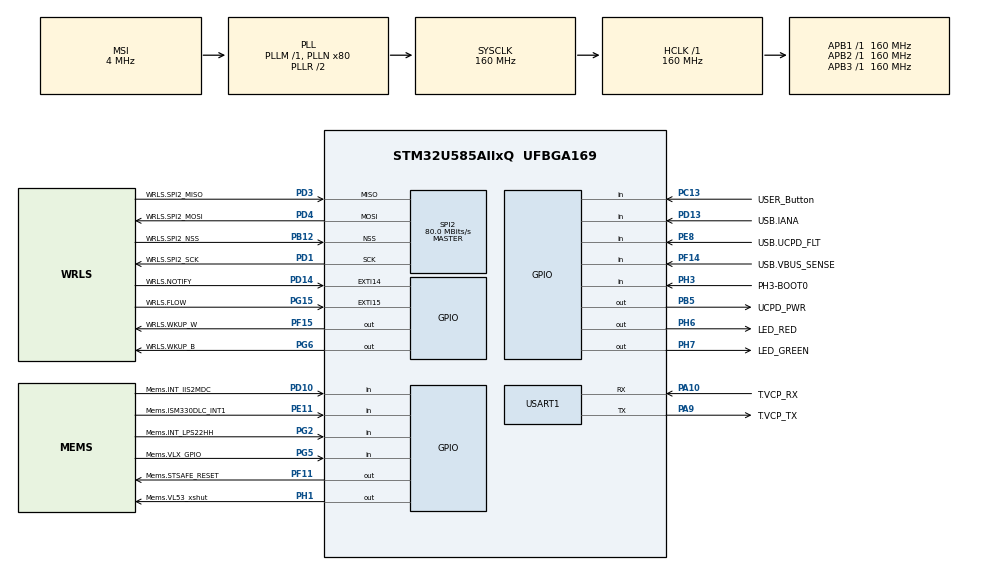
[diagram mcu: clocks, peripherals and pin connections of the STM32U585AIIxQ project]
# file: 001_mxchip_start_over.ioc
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CORTEX_M33_NS.userName=CORTEX_M33
Mcu.Family=STM32U5
Mcu.Name=STM32U585AIIxQ
Mcu.Package=UFBGA169
NVIC.PriorityGroup=NVIC_PRIORITYGROUP_4
NVIC.SPI2_IRQn=true\:0\:0\:false\:false\:true\:true\:true\:true
NVIC.USART1_IRQn=true\:0\:0\:false\:false\:true\:true\:true\:true
PA10.GPIO_Label=T.VCP_RX
PA10.Mode=Asynchronous
PA10.Signal=USART1_RX
PA11.GPIO_Label=USB.C_P
PA11.Signal=USB_OTG_FS_DM
PA12.GPIO_Label=USB.C_P
PA12.Signal=USB_OTG_FS_DP
PA13\ (JTMS/SWDIO).GPIO_Label=T.SWDIO
PA13\ (JTMS/SWDIO).Signal=DEBUG_JTMS-SWDIO
PA14\ (JTCK/SWCLK).GPIO_Label=T.SWCLK
PA14\ (JTCK/SWCLK).Signal=DEBUG_JTCK-SWCLK
PA15\ (JTDI).GPIO_Label=USB.UCPD_CC1
PA15\ (JTDI).Signal=UCPD1_CC1
PA9.GPIO_Label=T.VCP_TX
PA9.Mode=Asynchronous
PA9.Signal=USART1_TX
PB1.GPIO_Label=MIC.SDIN0
PB1.Signal=MDF1_SDI0
PB10.GPIO_Label=OCTOSPI.R_CLK_P
PB10.Signal=OCTOSPIM_P1_CLK
PB11.GPIO_Label=OCTOSPI.R_NCS
PB11.Signal=OCTOSPIM_P1_NCS
PB12.GPIO_Label=WRLS.SPI2_NSS
PB12.Mode=NSS_Signal_Hard_Input
PB12.Signal=SPI2_NSS
PB15.GPIO_Label=USB.UCPD_CC2
PB15.Signal=UCPD1_CC2
PB3\ (JTDO/TRACESWO).GPIO_Label=T.SWO
PB3\ (JTDO/TRACESWO).Signal=DEBUG_JTDO-SWO
PB5.GPIO_Label=UCPD_PWR
PB5.Signal=GPIO_Output
PB8.Signal=I2C1_SCL
PB9.Signal=I2C1_SDA
PC10.GPIO_Label=WRLS.UART4_TX
PC10.Signal=UART4_TX
PC11.GPIO_Label=WRLS.UART4_RX
PC11.Signal=UART4_RX
PC13.GPIO_Label=USER_Button
PC13.Signal=GPIO_Input
PC14-OSC32_IN\ (PC14).GPIO_Label=PC14-OSC32_IN
PC14-OSC32_IN\ (PC14).Signal=RCC_OSC32_IN
PC15-OSC32_OUT\ (PC15).GPIO_Label=PC15-OSC32_OUT
PC15-OSC32_OUT\ (PC15).Signal=RCC_OSC32_OUT
PC3.GPIO_Label=OCTOSPI.R_IO6
PC3.Signal=OCTOSPIM_P1_IO6
PD1.GPIO_Label=WRLS.SPI2_SCK
PD1.Mode=Full_Duplex_Master
PD1.Signal=SPI2_SCK
PD10.GPIO_Label=Mems.INT_IIS2MDC
PD10.Signal=GPIO_Input
PD13.GPIO_Label=USB.IANA
PD13.Signal=GPIO_Input
PD14.GPIO_Label=WRLS.NOTIFY
PD14.GPIO_ModeDefaultEXTI=GPIO_MODE_IT_RISING
PD14.Signal=GPXTI14
PD3.GPIO_Label=WRLS.SPI2_MISO
PD3.Mode=Full_Duplex_Master
PD3.Signal=SPI2_MISO
PD4.GPIO_Label=WRLS.SPI2_MOSI
PD4.Mode=Full_Duplex_Master
PD4.Signal=SPI2_MOSI
PD7.GPIO_Label=OCTOSPI.R_IO7
PD7.Signal=OCTOSPIM_P1_IO7
PE10.GPIO_Label=MIC.SDINx
PE10.Signal=ADF1_SDI0
PE11.GPIO_Label=Mems.ISM330DLC_INT1
PE11.Signal=GPIO_Input
PE3.GPIO_Label=OCTOSPI.R_DQS
PE3.Signal=OCTOSPIM_P1_DQS
PE8.GPIO_Label=USB.UCPD_FLT
PE8.Signal=GPIO_Input
PE9.GPIO_Label=MIC.CCK0
PE9.Signal=ADF1_CCK0
PF0.GPIO_Label=OCTOSPI.F_IO0
PF0.Signal=OCTOSPIM_P2_IO0
PF1.GPIO_Label=OCTOSPI.F_IO1
PF1.Signal=OCTOSPIM_P2_IO1
PF10.GPIO_Label=MIC.CCK1
PF10.Signal=MDF1_CCK1
PF11.GPIO_Label=Mems.STSAFE_RESET
PF11.Signal=GPIO_Output
PF12.GPIO_Label=OCTOSPI.F_DQS
PF12.Signal=OCTOSPIM_P2_DQS
PF14.GPIO_Label=USB.VBUS_SENSE
PF14.Signal=GPIO_Input
PF15.GPIO_Label=WRLS.WKUP_W
PF15.Signal=GPIO_Output
PF2.GPIO_Label=OCTOSPI.F_IO2
PF2.Signal=OCTOSPIM_P2_IO2
PF3.GPIO_Label=OCTOSPI.F_IO3
PF3.Signal=OCTOSPIM_P2_IO3
PF4.GPIO_Label=OCTOSPI.F_CLK_P
PF4.Signal=OCTOSPIM_P2_CLK
PF6.GPIO_Label=OCTOSPI.R_IO3
PF6.Signal=OCTOSPIM_P1_IO3
PF7.GPIO_Label=OCTOSPI.R_IO2
PF7.Signal=OCTOSPIM_P1_IO2
PF8.GPIO_Label=OCTOSPI.R_IO0
PF8.Signal=OCTOSPIM_P1_IO0
PF9.GPIO_Label=OCTOSPI.R_IO1
PF9.Signal=OCTOSPIM_P1_IO1
PG15.GPIO_Label=WRLS.FLOW
PG15.GPIO_ModeDefaultEXTI=GPIO_MODE_IT_RISING
PG15.Signal=GPXTI15
PG2.GPIO_Label=Mems.INT_LPS22HH
PG2.Signal=GPIO_Input
PG5.GPIO_Label=Mems.VLX_GPIO
PG5.Signal=GPIO_Input
PG6.GPIO_Label=WRLS.WKUP_B
PG6.Signal=GPIO_Output
PH1-OSC_OUT\ (PH1).GPIO_Label=Mems.VL53_xshut
PH1-OSC_OUT\ (PH1).Signal=GPIO_Output
PH10.GPIO_Label=OCTOSPI.F_IO5
PH10.Signal=OCTOSPIM_P2_IO5
PH11.GPIO_Label=OCTOSPI.F_IO6
PH11.Signal=OCTOSPIM_P2_IO6
PH12.GPIO_Label=OCTOSPI.F_IO7
PH12.Signal=OCTOSPIM_P2_IO7
PH2.GPIO_Label=OCTOSPI.R_IO4
PH2.Signal=OCTOSPIM_P1_IO4
PH3-BOOT0.GPIO_Label=PH3-BOOT0
PH3-BOOT0.Signal=GPIO_Input
PH4.Signal=I2C2_SCL
PH5.Signal=I2C2_SDA
PH6.GPIO_Label=LED_RED
PH6.Signal=GPIO_Output
PH7.GPIO_Label=LED_GREEN
PH7.Signal=GPIO_Output
PH9.GPIO_Label=OCTOSPI.F_IO4
PH9.Signal=OCTOSPIM_P2_IO4
PI0.GPIO_Label=OCTOSPI.R_IO5
PI0.Signal=OCTOSPIM_P1_IO5
PI5.GPIO_Label=OCTOSPI.F_NCS
PI5.Signal=OCTOSPIM_P2_NCS
PWR.PowerMode=PWR_SMPS_SUPPLY
ProjectManager.HeapSize=0x200
ProjectManager.StackSize=0x400
ProjectManager.TargetToolchain=STM32CubeIDE
RCC.ADCFreq_Value=16000000
RCC.AHBFreq_Value=160000000
RCC.APB1Freq_Value=160000000
RCC.APB1TimFreq_Value=160000000
RCC.APB2Freq_Value=160000000
RCC.APB2TimFreq_Value=160000000
RCC.APB3Freq_Value=160000000
RCC.CortexFreq_Value=160000000
RCC.DACCLockSelectionVirtual=RCC_DAC1CLKSOURCE_LSI
RCC.EPOD_VALUE=4000000
RCC.HCLKFreq_Value=160000000
RCC.HSE_VALUE=16000000
RCC.HSI48_VALUE=48000000
RCC.HSI_VALUE=16000000
RCC.LSE_VALUE=32768
RCC.LSIDIV_VALUE=32000
RCC.MSI_VALUE=4000000
RCC.PLLN=80
RCC.SYSCLKFreq_VALUE=160000000
RCC.SYSCLKSource=RCC_SYSCLKSOURCE_PLLCLK
RCC.USBFreq_Value=48000000
RCC.VCOOutputFreq_Value=320000000
SPI2.CalculateBaudRate=80.0 MBits/s
SPI2.DataSize=SPI_DATASIZE_8BIT
SPI2.Direction=SPI_DIRECTION_2LINES
SPI2.Mode=SPI_MODE_MASTER
SPI2.VirtualNSS=VM_NSSHARD
SPI2.VirtualType=VM_MASTER
USART1.VirtualMode-Asynchronous=VM_ASYNC
VP_GPDMA1_VS_GPDMACH12.Mode=LINKEDLIST_GPDMACH12
VP_GPDMA1_VS_GPDMACH13.Mode=LINKEDLIST_GPDMACH13
VP_ICACHE_VS_ICACHE.Mode=DirectMappedCache
VP_LPBAMQUEUE_VS_QUEUE.Mode=QUEUEMODE
VP_LPBAM_VS_SIG1.Mode=SmartRun
VP_LPBAM_VS_SIG4.Mode=LPDMA1
VP_MEMORYMAP_VS_MEMORYMAP.Mode=CurAppReg
VP_PWR_VS_LPOM.Mode=PowerOptimisation
VP_PWR_VS_SECSignals.Mode=Security/Privilege
board=B-U585I-IOT02A

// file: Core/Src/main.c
/* USER CODE BEGIN Header */
/**
  ******************************************************************************
  * @file           : main.c
  * @brief          : Main program body
  ******************************************************************************
  * @attention
  *
  * Copyright (c) 2025 STMicroelectronics.
  * All rights reserved.
  *
  * This software is licensed under terms that can be found in the LICENSE file
  * in the root directory of this software component.
  * If no LICENSE file comes with this software, it is provided AS-IS.
  *
  ******************************************************************************
  */
/* USER CODE END Header */
#include "main.h"

/* USER CODE BEGIN Includes */
#include "mxchip_stm32.h"
#include <stdio.h>
/* USER CODE END Includes */

DMA_HandleTypeDef handle_GPDMA1_Channel13;
DMA_HandleTypeDef handle_GPDMA1_Channel12;

SPI_HandleTypeDef hspi2;

UART_HandleTypeDef huart1;

/* USER CODE BEGIN PV */
/* MXCHIP WiFi object */
MX_WIFIObject_t wifi_obj;

/* USER CODE END PV */

void SystemClock_Config(void);
static void SystemPower_Config(void);
static void MX_GPIO_Init(void);
static void MX_GPDMA1_Init(void);
static void MX_ICACHE_Init(void);
static void MX_SPI2_Init(void);
static void MX_USART1_UART_Init(void);

/* USER CODE BEGIN 0 */

/**
 * @brief Redirect printf to UART1
 * @param ch: Character to send
 * @retval int: Character sent
 */
int __io_putchar(int ch)
{
  HAL_UART_Transmit(&huart1, (uint8_t *)&ch, 1, HAL_MAX_DELAY);
  return ch;
}

/* USER CODE END 0 */

int main(void)
{

  /* MCU Configuration--------------------------------------------------------*/

  /* Reset of all peripherals, Initializes the Flash interface and the Systick. */
  HAL_Init();

  /* Configure the System Power */
  SystemPower_Config();

  /* Configure the system clock */
  SystemClock_Config();

  /* Initialize all configured peripherals */
  MX_GPIO_Init();
  MX_GPDMA1_Init();
  MX_ICACHE_Init();
  MX_SPI2_Init();
  MX_USART1_UART_Init();
  /* USER CODE BEGIN 2 */

  printf("\r\n=== MXCHIP WiFi Network Scanner Demo ===\r\n");

  /* Initialize MXCHIP WiFi module */
  MX_WIFI_STATUS_T status = MXCHIP_Init(&wifi_obj);

  if (status != MX_WIFI_STATUS_OK) {
    printf("❌ Failed to initialize MXCHIP WiFi module. Halting.\r\n");
    while(1) {
      HAL_GPIO_TogglePin(LED_RED_GPIO_Port, LED_RED_Pin);
      HAL_Delay(500);
    }
  }

  /* Turn on green LED to indicate successful initialization */
  HAL_GPIO_WritePin(LED_GREEN_GPIO_Port, LED_GREEN_Pin, GPIO_PIN_SET);

  printf("🚀 Starting WiFi scanning demo...\r\n\r\n");

  /* USER CODE END 2 */

  /* Infinite loop */
  while (1)
  {

    /* USER CODE BEGIN 3 */

    MXCHIP_ScanResults_t scan_results;

    printf("🔄 === WiFi Scan Cycle ===\r\n");

    /* Perform WiFi network scan */
    status = MXCHIP_ScanNetworks(&wifi_obj, &scan_results);

    if (status == MX_WIFI_STATUS_OK) {
      /* Display scan results */
      MXCHIP_PrintScanResults(&scan_results);

      if (scan_results.count > 0) {
        /* Show strongest network */
        MXCHIP_PrintStrongestNetwork(&scan_results);

        /* Show network statistics */
        MXCHIP_PrintNetworkStatistics(&scan_results);

        /* Blink green LED to indicate successful scan */
        for (int i = 0; i < 3; i++) {
          HAL_GPIO_TogglePin(LED_GREEN_GPIO_Port, LED_GREEN_Pin);
          HAL_Delay(200);
        }
        HAL_GPIO_WritePin(LED_GREEN_GPIO_Port, LED_GREEN_Pin, GPIO_PIN_SET);
      } else {
        printf("⚠️  No networks found in this scan.\r\n");
        /* Blink red LED to indicate no networks found */
        for (int i = 0; i < 2; i++) {
          HAL_GPIO_TogglePin(LED_RED_GPIO_Port, LED_RED_Pin);
          HAL_Delay(300);
        }
        HAL_GPIO_WritePin(LED_RED_GPIO_Port, LED_RED_Pin, GPIO_PIN_RESET);
      }
    } else {
      printf("❌ WiFi scan failed with error: %d\r\n", status);
      /* Blink red LED rapidly to indicate scan error */
      for (int i = 0; i < 5; i++) {
        HAL_GPIO_TogglePin(LED_RED_GPIO_Port, LED_RED_Pin);
        HAL_Delay(100);
      }
      HAL_GPIO_WritePin(LED_RED_GPIO_Port, LED_RED_Pin, GPIO_PIN_RESET);
    }

    printf("⏰ Waiting 10 seconds before next scan...\r\n");
    printf("========================================\r\n\r\n");

    /* Wait 10 seconds before next scan */
    HAL_Delay(10000);

  }
  /* USER CODE END 3 */
}

void SystemClock_Config(void)
{
  RCC_OscInitTypeDef RCC_OscInitStruct = {0};
  RCC_ClkInitTypeDef RCC_ClkInitStruct = {0};

  /** Configure the main internal regulator output voltage
  */
  if (HAL_PWREx_ControlVoltageScaling(PWR_REGULATOR_VOLTAGE_SCALE1) != HAL_OK)
  {
    Error_Handler();
  }

  /** Initializes the CPU, AHB and APB buses clocks
  */
  RCC_OscInitStruct.OscillatorType = RCC_OSCILLATORTYPE_MSI;
  RCC_OscInitStruct.MSIState = RCC_MSI_ON;
  RCC_OscInitStruct.MSICalibrationValue = RCC_MSICALIBRATION_DEFAULT;
  RCC_OscInitStruct.MSIClockRange = RCC_MSIRANGE_4;
  RCC_OscInitStruct.PLL.PLLState = RCC_PLL_ON;
  RCC_OscInitStruct.PLL.PLLSource = RCC_PLLSOURCE_MSI;
  RCC_OscInitStruct.PLL.PLLMBOOST = RCC_PLLMBOOST_DIV1;
  RCC_OscInitStruct.PLL.PLLM = 1;
  RCC_OscInitStruct.PLL.PLLN = 80;
  RCC_OscInitStruct.PLL.PLLP = 2;
  RCC_OscInitStruct.PLL.PLLQ = 2;
  RCC_OscInitStruct.PLL.PLLR = 2;
  RCC_OscInitStruct.PLL.PLLRGE = RCC_PLLVCIRANGE_0;
  RCC_OscInitStruct.PLL.PLLFRACN = 0;
  if (HAL_RCC_OscConfig(&RCC_OscInitStruct) != HAL_OK)
  {
    Error_Handler();
  }

  /** Initializes the CPU, AHB and APB buses clocks
  */
  RCC_ClkInitStruct.ClockType = RCC_CLOCKTYPE_HCLK|RCC_CLOCKTYPE_SYSCLK
                              |RCC_CLOCKTYPE_PCLK1|RCC_CLOCKTYPE_PCLK2
                              |RCC_CLOCKTYPE_PCLK3;
  RCC_ClkInitStruct.SYSCLKSource = RCC_SYSCLKSOURCE_PLLCLK;
  RCC_ClkInitStruct.AHBCLKDivider = RCC_SYSCLK_DIV1;
  RCC_ClkInitStruct.APB1CLKDivider = RCC_HCLK_DIV1;
  RCC_ClkInitStruct.APB2CLKDivider = RCC_HCLK_DIV1;
  RCC_ClkInitStruct.APB3CLKDivider = RCC_HCLK_DIV1;

  if (HAL_RCC_ClockConfig(&RCC_ClkInitStruct, FLASH_LATENCY_4) != HAL_OK)
  {
    Error_Handler();
  }
}

/**
  * @brief Power Configuration
  * @retval None
  */
static void SystemPower_Config(void)
{
  HAL_PWREx_EnableVddIO2();

  /*
   * Switch to SMPS regulator instead of LDO
   */
  if (HAL_PWREx_ConfigSupply(PWR_SMPS_SUPPLY) != HAL_OK)
  {
    Error_Handler();
  }
}

static void MX_GPDMA1_Init(void)
{

  /* Peripheral clock enable */
  __HAL_RCC_GPDMA1_CLK_ENABLE();

  handle_GPDMA1_Channel13.Instance = GPDMA1_Channel13;
  handle_GPDMA1_Channel13.InitLinkedList.Priority = DMA_LOW_PRIORITY_LOW_WEIGHT;
  handle_GPDMA1_Channel13.InitLinkedList.LinkStepMode = DMA_LSM_FULL_EXECUTION;
  handle_GPDMA1_Channel13.InitLinkedList.LinkAllocatedPort = DMA_LINK_ALLOCATED_PORT0;
  handle_GPDMA1_Channel13.InitLinkedList.TransferEventMode = DMA_TCEM_LAST_LL_ITEM_TRANSFER;
  handle_GPDMA1_Channel13.InitLinkedList.LinkedListMode = DMA_LINKEDLIST_NORMAL;
  if (HAL_DMAEx_List_Init(&handle_GPDMA1_Channel13) != HAL_OK)
  {
    Error_Handler();
  }
  if (HAL_DMA_ConfigChannelAttributes(&handle_GPDMA1_Channel13, DMA_CHANNEL_NPRIV) != HAL_OK)
  {
    Error_Handler();
  }
  handle_GPDMA1_Channel12.Instance = GPDMA1_Channel12;
  handle_GPDMA1_Channel12.InitLinkedList.Priority = DMA_LOW_PRIORITY_LOW_WEIGHT;
  handle_GPDMA1_Channel12.InitLinkedList.LinkStepMode = DMA_LSM_FULL_EXECUTION;
  handle_GPDMA1_Channel12.InitLinkedList.LinkAllocatedPort = DMA_LINK_ALLOCATED_PORT0;
  handle_GPDMA1_Channel12.InitLinkedList.TransferEventMode = DMA_TCEM_LAST_LL_ITEM_TRANSFER;
  handle_GPDMA1_Channel12.InitLinkedList.LinkedListMode = DMA_LINKEDLIST_NORMAL;
  if (HAL_DMAEx_List_Init(&handle_GPDMA1_Channel12) != HAL_OK)
  {
    Error_Handler();
  }
  if (HAL_DMA_ConfigChannelAttributes(&handle_GPDMA1_Channel12, DMA_CHANNEL_NPRIV) != HAL_OK)
  {
    Error_Handler();
  }

}

static void MX_ICACHE_Init(void)
{

  /** Enable instruction cache in 1-way (direct mapped cache)
  */
  if (HAL_ICACHE_ConfigAssociativityMode(ICACHE_1WAY) != HAL_OK)
  {
    Error_Handler();
  }
  if (HAL_ICACHE_Enable() != HAL_OK)
  {
    Error_Handler();
  }

}

static void MX_SPI2_Init(void)
{

  SPI_AutonomousModeConfTypeDef HAL_SPI_AutonomousMode_Cfg_Struct = {0};

  /* SPI2 parameter configuration*/
  hspi2.Instance = SPI2;
  hspi2.Init.Mode = SPI_MODE_MASTER;
  hspi2.Init.Direction = SPI_DIRECTION_2LINES;
  hspi2.Init.DataSize = SPI_DATASIZE_8BIT;
  hspi2.Init.CLKPolarity = SPI_POLARITY_LOW;
  hspi2.Init.CLKPhase = SPI_PHASE_1EDGE;
  hspi2.Init.NSS = SPI_NSS_HARD_INPUT;
  hspi2.Init.BaudRatePrescaler = SPI_BAUDRATEPRESCALER_2;
  hspi2.Init.FirstBit = SPI_FIRSTBIT_MSB;
  hspi2.Init.TIMode = SPI_TIMODE_DISABLE;
  hspi2.Init.CRCCalculation = SPI_CRCCALCULATION_DISABLE;
  hspi2.Init.CRCPolynomial = 0x7;
  hspi2.Init.NSSPMode = SPI_NSS_PULSE_ENABLE;
  hspi2.Init.NSSPolarity = SPI_NSS_POLARITY_LOW;
  hspi2.Init.FifoThreshold = SPI_FIFO_THRESHOLD_01DATA;
  hspi2.Init.MasterSSIdleness = SPI_MASTER_SS_IDLENESS_00CYCLE;
  hspi2.Init.MasterInterDataIdleness = SPI_MASTER_INTERDATA_IDLENESS_00CYCLE;
  hspi2.Init.MasterReceiverAutoSusp = SPI_MASTER_RX_AUTOSUSP_DISABLE;
  hspi2.Init.MasterKeepIOState = SPI_MASTER_KEEP_IO_STATE_DISABLE;
  hspi2.Init.IOSwap = SPI_IO_SWAP_DISABLE;
  hspi2.Init.ReadyMasterManagement = SPI_RDY_MASTER_MANAGEMENT_INTERNALLY;
  hspi2.Init.ReadyPolarity = SPI_RDY_POLARITY_HIGH;
  if (HAL_SPI_Init(&hspi2) != HAL_OK)
  {
    Error_Handler();
  }
  HAL_SPI_AutonomousMode_Cfg_Struct.TriggerState = SPI_AUTO_MODE_DISABLE;
  HAL_SPI_AutonomousMode_Cfg_Struct.TriggerSelection = SPI_GRP1_GPDMA_CH0_TCF_TRG;
  HAL_SPI_AutonomousMode_Cfg_Struct.TriggerPolarity = SPI_TRIG_POLARITY_RISING;
  if (HAL_SPIEx_SetConfigAutonomousMode(&hspi2, &HAL_SPI_AutonomousMode_Cfg_Struct) != HAL_OK)
  {
    Error_Handler();
  }

}

static void MX_USART1_UART_Init(void)
{

  huart1.Instance = USART1;
  huart1.Init.BaudRate = 115200;
  huart1.Init.WordLength = UART_WORDLENGTH_8B;
  huart1.Init.StopBits = UART_STOPBITS_1;
  huart1.Init.Parity = UART_PARITY_NONE;
  huart1.Init.Mode = UART_MODE_TX_RX;
  huart1.Init.HwFlowCtl = UART_HWCONTROL_NONE;
  huart1.Init.OverSampling = UART_OVERSAMPLING_16;
  huart1.Init.OneBitSampling = UART_ONE_BIT_SAMPLE_DISABLE;
  huart1.Init.ClockPrescaler = UART_PRESCALER_DIV1;
  huart1.AdvancedInit.AdvFeatureInit = UART_ADVFEATURE_NO_INIT;
  if (HAL_UART_Init(&huart1) != HAL_OK)
  {
    Error_Handler();
  }
  if (HAL_UARTEx_SetTxFifoThreshold(&huart1, UART_TXFIFO_THRESHOLD_1_8) != HAL_OK)
  {
    Error_Handler();
  }
  if (HAL_UARTEx_SetRxFifoThreshold(&huart1, UART_RXFIFO_THRESHOLD_1_8) != HAL_OK)
  {
    Error_Handler();
  }
  if (HAL_UARTEx_DisableFifoMode(&huart1) != HAL_OK)
  {
    Error_Handler();
  }

}

static void MX_GPIO_Init(void)
{
  GPIO_InitTypeDef GPIO_InitStruct = {0};

  /* GPIO Ports Clock Enable */
  __HAL_RCC_GPIOG_CLK_ENABLE();
  __HAL_RCC_GPIOC_CLK_ENABLE();
  __HAL_RCC_GPIOA_CLK_ENABLE();
  __HAL_RCC_GPIOI_CLK_ENABLE();
  __HAL_RCC_GPIOH_CLK_ENABLE();
  __HAL_RCC_GPIOB_CLK_ENABLE();
  __HAL_RCC_GPIOD_CLK_ENABLE();
  __HAL_RCC_GPIOE_CLK_ENABLE();
  __HAL_RCC_GPIOF_CLK_ENABLE();

  /*Configure GPIO pin Output Level */
  HAL_GPIO_WritePin(UCPD_PWR_GPIO_Port, UCPD_PWR_Pin, GPIO_PIN_RESET);

  /*Configure GPIO pin Output Level */
  HAL_GPIO_WritePin(GPIOH, LED_RED_Pin|LED_GREEN_Pin|Mems_VL53_xshut_Pin, GPIO_PIN_RESET);

  /*Configure GPIO pin Output Level */
  HAL_GPIO_WritePin(WRLS_WKUP_B_GPIO_Port, WRLS_WKUP_B_Pin, GPIO_PIN_RESET);

  /*Configure GPIO pin Output Level */
  HAL_GPIO_WritePin(GPIOF, Mems_STSAFE_RESET_Pin|WRLS_WKUP_W_Pin, GPIO_PIN_RESET);

  /*Configure GPIO pin : WRLS_FLOW_Pin */
  GPIO_InitStruct.Pin = WRLS_FLOW_Pin;
  GPIO_InitStruct.Mode = GPIO_MODE_IT_RISING;
  GPIO_InitStruct.Pull = GPIO_NOPULL;
  HAL_GPIO_Init(WRLS_FLOW_GPIO_Port, &GPIO_InitStruct);

  /*Configure GPIO pins : WRLS_UART4_RX_Pin WRLS_UART4_TX_Pin */
  GPIO_InitStruct.Pin = WRLS_UART4_RX_Pin|WRLS_UART4_TX_Pin;
  GPIO_InitStruct.Mode = GPIO_MODE_AF_PP;
  GPIO_InitStruct.Pull = GPIO_NOPULL;
  GPIO_InitStruct.Speed = GPIO_SPEED_FREQ_LOW;
  GPIO_InitStruct.Alternate = GPIO_AF8_UART4;
  HAL_GPIO_Init(GPIOC, &GPIO_InitStruct);

  /*Configure GPIO pin : USB_UCPD_CC1_Pin */
  GPIO_InitStruct.Pin = USB_UCPD_CC1_Pin;
  GPIO_InitStruct.Mode = GPIO_MODE_ANALOG;
  GPIO_InitStruct.Pull = GPIO_NOPULL;
  HAL_GPIO_Init(USB_UCPD_CC1_GPIO_Port, &GPIO_InitStruct);

  /*Configure GPIO pin : OCTOSPI_F_NCS_Pin */
  GPIO_InitStruct.Pin = OCTOSPI_F_NCS_Pin;
  GPIO_InitStruct.Mode = GPIO_MODE_AF_PP;
  GPIO_InitStruct.Pull = GPIO_NOPULL;
  GPIO_InitStruct.Speed = GPIO_SPEED_FREQ_VERY_HIGH;
  GPIO_InitStruct.Alternate = GPIO_AF5_OCTOSPI2;
  HAL_GPIO_Init(OCTOSPI_F_NCS_GPIO_Port, &GPIO_InitStruct);

  /*Configure GPIO pin : OCTOSPI_R_IO5_Pin */
  GPIO_InitStruct.Pin = OCTOSPI_R_IO5_Pin;
  GPIO_InitStruct.Mode = GPIO_MODE_AF_PP;
  GPIO_InitStruct.Pull = GPIO_NOPULL;
  GPIO_InitStruct.Speed = GPIO_SPEED_FREQ_VERY_HIGH;
  GPIO_InitStruct.Alternate = GPIO_AF3_OCTOSPI1;
  HAL_GPIO_Init(OCTOSPI_R_IO5_GPIO_Port, &GPIO_InitStruct);

  /*Configure GPIO pins : OCTOSPI_F_IO7_Pin OCTOSPI_F_IO5_Pin OCTOSPI_F_IO6_Pin OCTOSPI_F_IO4_Pin */
  GPIO_InitStruct.Pin = OCTOSPI_F_IO7_Pin|OCTOSPI_F_IO5_Pin|OCTOSPI_F_IO6_Pin|OCTOSPI_F_IO4_Pin;
  GPIO_InitStruct.Mode = GPIO_MODE_AF_PP;
  GPIO_InitStruct.Pull = GPIO_NOPULL;
  GPIO_InitStruct.Speed = GPIO_SPEED_FREQ_VERY_HIGH;
  GPIO_InitStruct.Alternate = GPIO_AF5_OCTOSPI2;
  HAL_GPIO_Init(GPIOH, &GPIO_InitStruct);

  /*Configure GPIO pin : PH3_BOOT0_Pin */
  GPIO_InitStruct.Pin = PH3_BOOT0_Pin;
  GPIO_InitStruct.Mode = GPIO_MODE_INPUT;
  GPIO_InitStruct.Pull = GPIO_NOPULL;
  HAL_GPIO_Init(PH3_BOOT0_GPIO_Port, &GPIO_InitStruct);

  /*Configure GPIO pin : UCPD_PWR_Pin */
  GPIO_InitStruct.Pin = UCPD_PWR_Pin;
  GPIO_InitStruct.Mode = GPIO_MODE_OUTPUT_PP;
  GPIO_InitStruct.Pull = GPIO_NOPULL;
  GPIO_InitStruct.Speed = GPIO_SPEED_FREQ_LOW;
  HAL_GPIO_Init(UCPD_PWR_GPIO_Port, &GPIO_InitStruct);

  /*Configure GPIO pin : OCTOSPI_R_DQS_Pin */
  GPIO_InitStruct.Pin = OCTOSPI_R_DQS_Pin;
  GPIO_InitStruct.Mode = GPIO_MODE_AF_PP;
  GPIO_InitStruct.Pull = GPIO_NOPULL;
  GPIO_InitStruct.Speed = GPIO_SPEED_FREQ_VERY_HIGH;
  GPIO_InitStruct.Alternate = GPIO_AF3_OCTOSPI1;
  HAL_GPIO_Init(OCTOSPI_R_DQS_GPIO_Port, &GPIO_InitStruct);

  /*Configure GPIO pins : PB9 PB8 */
  GPIO_InitStruct.Pin = GPIO_PIN_9|GPIO_PIN_8;
  GPIO_InitStruct.Mode = GPIO_MODE_AF_OD;
  GPIO_InitStruct.Pull = GPIO_NOPULL;
  GPIO_InitStruct.Speed = GPIO_SPEED_FREQ_LOW;
  GPIO_InitStruct.Alternate = GPIO_AF4_I2C1;
  HAL_GPIO_Init(GPIOB, &GPIO_InitStruct);

  /*Configure GPIO pin : OCTOSPI_R_IO7_Pin */
  GPIO_InitStruct.Pin = OCTOSPI_R_IO7_Pin;
  GPIO_InitStruct.Mode = GPIO_MODE_AF_PP;
  GPIO_InitStruct.Pull = GPIO_NOPULL;
  GPIO_InitStruct.Speed = GPIO_SPEED_FREQ_VERY_HIGH;
  GPIO_InitStruct.Alternate = GPIO_AF10_OCTOSPI1;
  HAL_GPIO_Init(OCTOSPI_R_IO7_GPIO_Port, &GPIO_InitStruct);

  /*Configure GPIO pins : OCTOSPI_F_IO0_Pin OCTOSPI_F_IO1_Pin OCTOSPI_F_IO2_Pin OCTOSPI_F_IO3_Pin
                           OCTOSPI_F_CLK_P_Pin OCTOSPI_F_DQS_Pin */
  GPIO_InitStruct.Pin = OCTOSPI_F_IO0_Pin|OCTOSPI_F_IO1_Pin|OCTOSPI_F_IO2_Pin|OCTOSPI_F_IO3_Pin
                          |OCTOSPI_F_CLK_P_Pin|OCTOSPI_F_DQS_Pin;
  GPIO_InitStruct.Mode = GPIO_MODE_AF_PP;
  GPIO_InitStruct.Pull = GPIO_NOPULL;
  GPIO_InitStruct.Speed = GPIO_SPEED_FREQ_VERY_HIGH;
  GPIO_InitStruct.Alternate = GPIO_AF5_OCTOSPI2;
  HAL_GPIO_Init(GPIOF, &GPIO_InitStruct);

  /*Configure GPIO pin : USER_Button_Pin */
  GPIO_InitStruct.Pin = USER_Button_Pin;
  GPIO_InitStruct.Mode = GPIO_MODE_INPUT;
  GPIO_InitStruct.Pull = GPIO_NOPULL;
  HAL_GPIO_Init(USER_Button_GPIO_Port, &GPIO_InitStruct);

  /*Configure GPIO pins : PH4 PH5 */
  GPIO_InitStruct.Pin = GPIO_PIN_4|GPIO_PIN_5;
  GPIO_InitStruct.Mode = GPIO_MODE_AF_OD;
  GPIO_InitStruct.Pull = GPIO_NOPULL;
  GPIO_InitStruct.Speed = GPIO_SPEED_FREQ_LOW;
  GPIO_InitStruct.Alternate = GPIO_AF4_I2C2;
  HAL_GPIO_Init(GPIOH, &GPIO_InitStruct);

  /*Configure GPIO pins : LED_RED_Pin LED_GREEN_Pin Mems_VL53_xshut_Pin */
  GPIO_InitStruct.Pin = LED_RED_Pin|LED_GREEN_Pin|Mems_VL53_xshut_Pin;
  GPIO_InitStruct.Mode = GPIO_MODE_OUTPUT_PP;
  GPIO_InitStruct.Pull = GPIO_NOPULL;
  GPIO_InitStruct.Speed = GPIO_SPEED_FREQ_LOW;
  HAL_GPIO_Init(GPIOH, &GPIO_InitStruct);

  /*Configure GPIO pins : OCTOSPI_R_IO0_Pin OCTOSPI_R_IO2_Pin OCTOSPI_R_IO1_Pin OCTOSPI_R_IO3_Pin */
  GPIO_InitStruct.Pin = OCTOSPI_R_IO0_Pin|OCTOSPI_R_IO2_Pin|OCTOSPI_R_IO1_Pin|OCTOSPI_R_IO3_Pin;
  GPIO_InitStruct.Mode = GPIO_MODE_AF_PP;
  GPIO_InitStruct.Pull = GPIO_NOPULL;
  GPIO_InitStruct.Speed = GPIO_SPEED_FREQ_VERY_HIGH;
  GPIO_InitStruct.Alternate = GPIO_AF10_OCTOSPI1;
  HAL_GPIO_Init(GPIOF, &GPIO_InitStruct);

  /*Configure GPIO pin : OCTOSPI_R_IO4_Pin */
  GPIO_InitStruct.Pin = OCTOSPI_R_IO4_Pin;
  GPIO_InitStruct.Mode = GPIO_MODE_AF_PP;
  GPIO_InitStruct.Pull = GPIO_NOPULL;
  GPIO_InitStruct.Speed = GPIO_SPEED_FREQ_VERY_HIGH;
  GPIO_InitStruct.Alternate = GPIO_AF3_OCTOSPI1;
  HAL_GPIO_Init(OCTOSPI_R_IO4_GPIO_Port, &GPIO_InitStruct);

  /*Configure GPIO pins : USB_C_P_Pin USB_C_PA11_Pin */
  GPIO_InitStruct.Pin = USB_C_P_Pin|USB_C_PA11_Pin;
  GPIO_InitStruct.Mode = GPIO_MODE_AF_PP;
  GPIO_InitStruct.Pull = GPIO_NOPULL;
  GPIO_InitStruct.Speed = GPIO_SPEED_FREQ_LOW;
  GPIO_InitStruct.Alternate = GPIO_AF10_USB;
  HAL_GPIO_Init(GPIOA, &GPIO_InitStruct);

  /*Configure GPIO pin : MIC_CCK1_Pin */
  GPIO_InitStruct.Pin = MIC_CCK1_Pin;
  GPIO_InitStruct.Mode = GPIO_MODE_AF_PP;
  GPIO_InitStruct.Pull = GPIO_NOPULL;
  GPIO_InitStruct.Speed = GPIO_SPEED_FREQ_LOW;
  GPIO_InitStruct.Alternate = GPIO_AF6_MDF1;
  HAL_GPIO_Init(MIC_CCK1_GPIO_Port, &GPIO_InitStruct);

  /*Configure GPIO pins : MIC_SDINx_Pin MIC_CCK0_Pin */
  GPIO_InitStruct.Pin = MIC_SDINx_Pin|MIC_CCK0_Pin;
  GPIO_InitStruct.Mode = GPIO_MODE_AF_PP;
  GPIO_InitStruct.Pull = GPIO_NOPULL;
  GPIO_InitStruct.Speed = GPIO_SPEED_FREQ_LOW;
  GPIO_InitStruct.Alternate = GPIO_AF3_ADF1;
  HAL_GPIO_Init(GPIOE, &GPIO_InitStruct);

  /*Configure GPIO pin : WRLS_WKUP_B_Pin */
  GPIO_InitStruct.Pin = WRLS_WKUP_B_Pin;
  GPIO_InitStruct.Mode = GPIO_MODE_OUTPUT_PP;
  GPIO_InitStruct.Pull = GPIO_NOPULL;
  GPIO_InitStruct.Speed = GPIO_SPEED_FREQ_LOW;
  HAL_GPIO_Init(WRLS_WKUP_B_GPIO_Port, &GPIO_InitStruct);

  /*Configure GPIO pins : Mems_VLX_GPIO_Pin Mems_INT_LPS22HH_Pin */
  GPIO_InitStruct.Pin = Mems_VLX_GPIO_Pin|Mems_INT_LPS22HH_Pin;
  GPIO_InitStruct.Mode = GPIO_MODE_INPUT;
  GPIO_InitStruct.Pull = GPIO_NOPULL;
  HAL_GPIO_Init(GPIOG, &GPIO_InitStruct);

  /*Configure GPIO pin : WRLS_NOTIFY_Pin */
  GPIO_InitStruct.Pin = WRLS_NOTIFY_Pin;
  GPIO_InitStruct.Mode = GPIO_MODE_IT_RISING;
  GPIO_InitStruct.Pull = GPIO_NOPULL;
  HAL_GPIO_Init(WRLS_NOTIFY_GPIO_Port, &GPIO_InitStruct);

  /*Configure GPIO pin : OCTOSPI_R_IO6_Pin */
  GPIO_InitStruct.Pin = OCTOSPI_R_IO6_Pin;
  GPIO_InitStruct.Mode = GPIO_MODE_AF_PP;
  GPIO_InitStruct.Pull = GPIO_NOPULL;
  GPIO_InitStruct.Speed = GPIO_SPEED_FREQ_VERY_HIGH;
  GPIO_InitStruct.Alternate = GPIO_AF10_OCTOSPI1;
  HAL_GPIO_Init(OCTOSPI_R_IO6_GPIO_Port, &GPIO_InitStruct);

  /*Configure GPIO pins : USB_UCPD_FLT_Pin Mems_ISM330DLC_INT1_Pin */
  GPIO_InitStruct.Pin = USB_UCPD_FLT_Pin|Mems_ISM330DLC_INT1_Pin;
  GPIO_InitStruct.Mode = GPIO_MODE_INPUT;
  GPIO_InitStruct.Pull = GPIO_NOPULL;
  HAL_GPIO_Init(GPIOE, &GPIO_InitStruct);

  /*Configure GPIO pins : OCTOSPI_R_CLK_P_Pin OCTOSPI_R_NCS_Pin */
  GPIO_InitStruct.Pin = OCTOSPI_R_CLK_P_Pin|OCTOSPI_R_NCS_Pin;
  GPIO_InitStruct.Mode = GPIO_MODE_AF_PP;
  GPIO_InitStruct.Pull = GPIO_NOPULL;
  GPIO_InitStruct.Speed = GPIO_SPEED_FREQ_VERY_HIGH;
  GPIO_InitStruct.Alternate = GPIO_AF10_OCTOSPI1;
  HAL_GPIO_Init(GPIOB, &GPIO_InitStruct);

  /*Configure GPIO pins : Mems_INT_IIS2MDC_Pin USB_IANA_Pin */
  GPIO_InitStruct.Pin = Mems_INT_IIS2MDC_Pin|USB_IANA_Pin;
  GPIO_InitStruct.Mode = GPIO_MODE_INPUT;
  GPIO_InitStruct.Pull = GPIO_NOPULL;
  HAL_GPIO_Init(GPIOD, &GPIO_InitStruct);

  /*Configure GPIO pin : USB_VBUS_SENSE_Pin */
  GPIO_InitStruct.Pin = USB_VBUS_SENSE_Pin;
  GPIO_InitStruct.Mode = GPIO_MODE_INPUT;
  GPIO_InitStruct.Pull = GPIO_NOPULL;
  HAL_GPIO_Init(USB_VBUS_SENSE_GPIO_Port, &GPIO_InitStruct);

  /*Configure GPIO pin : USB_UCPD_CC2_Pin */
  GPIO_InitStruct.Pin = USB_UCPD_CC2_Pin;
  GPIO_InitStruct.Mode = GPIO_MODE_ANALOG;
  GPIO_InitStruct.Pull = GPIO_NOPULL;
  HAL_GPIO_Init(USB_UCPD_CC2_GPIO_Port, &GPIO_InitStruct);

  /*Configure GPIO pins : Mems_STSAFE_RESET_Pin WRLS_WKUP_W_Pin */
  GPIO_InitStruct.Pin = Mems_STSAFE_RESET_Pin|WRLS_WKUP_W_Pin;
  GPIO_InitStruct.Mode = GPIO_MODE_OUTPUT_PP;
  GPIO_InitStruct.Pull = GPIO_NOPULL;
  GPIO_InitStruct.Speed = GPIO_SPEED_FREQ_LOW;
  HAL_GPIO_Init(GPIOF, &GPIO_InitStruct);

  /*Configure GPIO pin : MIC_SDIN0_Pin */
  GPIO_InitStruct.Pin = MIC_SDIN0_Pin;
  GPIO_InitStruct.Mode = GPIO_MODE_AF_PP;
  GPIO_InitStruct.Pull = GPIO_NOPULL;
  GPIO_InitStruct.Speed = GPIO_SPEED_FREQ_LOW;
  GPIO_InitStruct.Alternate = GPIO_AF6_MDF1;
  HAL_GPIO_Init(MIC_SDIN0_GPIO_Port, &GPIO_InitStruct);

  /* USER CODE BEGIN MX_GPIO_Init_2 */

  /* Enable NVIC interrupts for MXCHIP FLOW and NOTIFY pins */
  HAL_NVIC_SetPriority(MXCHIP_FLOW_EXTI_IRQn, 5, 0);
  HAL_NVIC_EnableIRQ(MXCHIP_FLOW_EXTI_IRQn);

  HAL_NVIC_SetPriority(MXCHIP_NOTIFY_EXTI_IRQn, 5, 0);
  HAL_NVIC_EnableIRQ(MXCHIP_NOTIFY_EXTI_IRQn);

  /* USER CODE END MX_GPIO_Init_2 */
}

void Error_Handler(void)
{
  __disable_irq();
  while (1)
  {
  }
}
